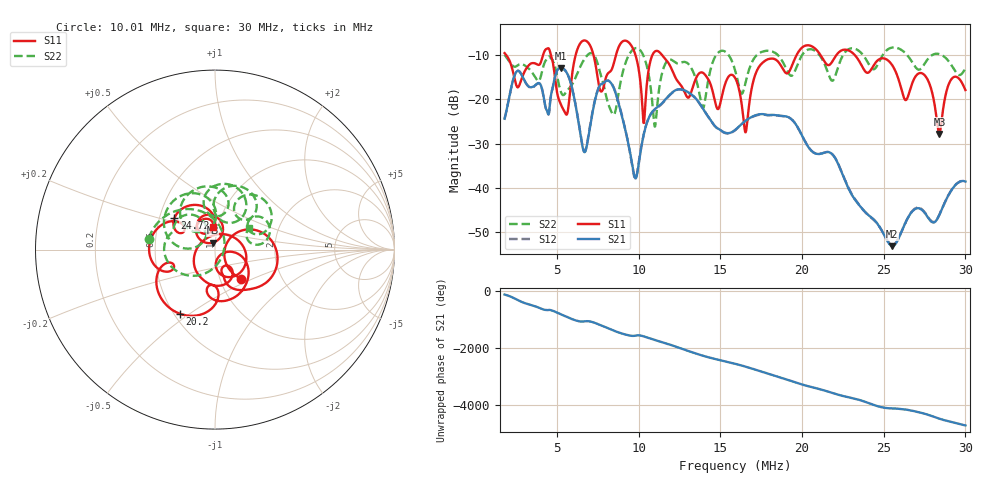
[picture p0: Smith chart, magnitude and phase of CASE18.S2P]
!Agilent Technologies,E5061B,MY49101568,A.02.00
!Date: Wed Mar 01 14:02:45 2023
!Data & Calibration Information:
!Freq	S11:SOLT2(OFF)	S21:SOLT2(OFF)	S12:SOLT2(OFF)	S22:SOLT2(OFF)
# Hz S dB R 50
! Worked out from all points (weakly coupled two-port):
!   1155 points, 1.8 MHz to 30 MHz, reference 50 ohm
!   highest |S21| = -12.87 dB at 5.221 MHz (marker M1); lowest = -53.3 dB at 25.5 MHz (marker M2)
!   lowest |S11| = -27.8 dB at 28.41 MHz (marker M3), VSWR 1.08, Z = 48.5 + j3.71 ohm
!   |S11| at or under -10 dB: 1.912 MHz to 4.146 MHz (2.234 MHz wide, 73.8 % of centre); 11.45 MHz to 19.66 MHz (8.209 MHz wide, 52.8 % of centre); 23.25 MHz to end of sweep (the widest 3 of 7)
!   |S22| runs from -26.2 to -8.2 dB; largest |S21 - S12| = 0.0032
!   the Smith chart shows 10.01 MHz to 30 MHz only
!   S11 on the Smith chart (normalised r, x): 10.01 MHz: 1.26, -0.43; 20.2 MHz: 0.53, -0.46; 24.72 MHz: 0.60, +0.23; 30 MHz: 0.95, +0.25
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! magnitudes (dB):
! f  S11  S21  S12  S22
! 1.8 MHz  -9.5  -24.4  -24.4  -9.9
! 2.606 MHz  -17.3  -13.5  -13.5  -12.2
! 4.464 MHz  -8.4  -23.3  -23.3  -10.5
! 5.221 MHz  -20.9  -12.9  -12.8  -18.0
! 6.516 MHz  -6.9  -29.7  -29.5  -11.9
! 8.154 MHz  -14.0  -15.8  -15.7  -21.1
! 10.01 MHz  -13.3  -34.6  -34.2  -8.5
! 10.33 MHz  -25.3  -27.8  -27.6  -10.3
! 11.21 MHz  -9.1  -21.6  -21.7  -19.0
! 12.85 MHz  -18.6  -18.0  -18.1  -11.5
! 13.95 MHz  -14.0  -22.1  -22.1  -22.0
! 14.85 MHz  -22.2  -26.6  -26.6  -9.4
! 15.9 MHz  -15.1  -26.9  -27.0  -13.3
! 16.56 MHz  -27.4  -24.8  -24.8  -16.0
! 17.42 MHz  -12.4  -23.4  -23.5  -9.4
! 20.2 MHz  -7.8  -29.6  -29.6  -9.1
! 20.62 MHz  -8.0  -31.8  -31.8  -8.7
! 24.72 MHz  -10.9  -48.7  -48.8  -11.4
! 25.31 MHz  -11.3  -52.6  -52.4  -8.5
! 25.5 MHz  -12.1  -53.3  -53.1  -8.2
! 28.41 MHz  -27.8  -46.2  -46.1  -9.7
! 30 MHz  -17.9  -38.6  -38.6  -13.0
